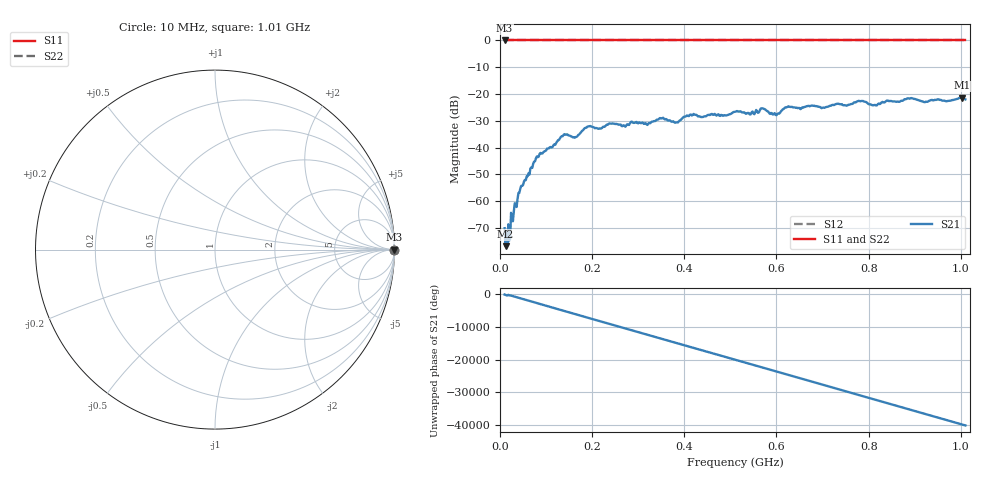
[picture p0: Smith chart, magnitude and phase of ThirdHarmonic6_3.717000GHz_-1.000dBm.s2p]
! 8/17/2025 12:40:19 PM
! C:\ANRITSUVNA\TEMP\TEMP.S2P
! CHANNEL.1
! TR.MEASUREMENT
! RAW.DATA
! RF.CORRECTION.OFF
! AVERAGING.OFF
! IF.BANDWIDTH: 5KHZ
! SWEEPTYPE:  FREQ.SWEEP(Linear)
! Reference Plane Port Info
! PORT:  PORT1  PORT2
! DISTANCE:  0  m  0  m
! TIME:  0  s  0  s
! PHASE.OFFSET:  0  deg.  0  deg.
! LOSS:  0  dB  0  dB
! REF.LOSS:  0  dB  0  dB
! REF.FREQ:  0  Hz  0  Hz
! Power Info
! POWER:  -20  dBm  -20  dBm
! EFF.POWER:  -20  dBm  -20  dBm
! SOURCE.ATTEN:  0  dB  0  dB
! TEST.ATTEN:  0  dB  0  dB
# GHZ S RI R 50.0
! FREQ.GHZ  S11RE  S11IM  S21RE  S21IM  S12RE  S12IM  S22RE  S22IM
!; PortSelection: Port_12
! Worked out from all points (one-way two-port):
!   501 points, 10 MHz to 1.01 GHz, reference 50 ohm
!   highest |S21| = -21.31 dB at 1.002 GHz (marker M1); lowest = -76.7 dB at 12 MHz (marker M2)
!   lowest |S11| = 0.0 dB at 10 MHz (marker M3)
!   |S11| at or under -10 dB: nowhere
!   |S22| runs from 0.0 to 0.0 dB; largest |S21 - S12| = 1.1
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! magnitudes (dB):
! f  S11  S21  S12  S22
! 10 MHz  0.0  -70.0  0.0  0.0
! 12 MHz  0.0  -76.7  0.0  0.0
! 18 MHz  0.0  -68.6  0.0  0.0
! 24 MHz  0.0  -64.3  0.0  0.0
! 28 MHz  0.0  -67.5  0.0  0.0
! 44 MHz  0.0  -55.3  0.0  0.0
! 78 MHz  0.0  -44.0  0.0  0.0
! 136 MHz  0.0  -35.7  0.0  0.0
! 162 MHz  0.0  -36.3  0.0  0.0
! 178 MHz  0.0  -33.7  0.0  0.0
! 194 MHz  0.0  -32.0  0.0  0.0
! 344 MHz  0.0  -29.4  0.0  0.0
! 382 MHz  0.0  -30.6  0.0  0.0
! 416 MHz  0.0  -28.0  0.0  0.0
! 510 MHz  0.0  -26.6  0.0  0.0
! 570 MHz  0.0  -25.3  0.0  0.0
! 596 MHz  0.0  -27.1  0.0  0.0
! 622 MHz  0.0  -25.0  0.0  0.0
! 678 MHz  0.0  -24.3  0.0  0.0
! 844 MHz  0.0  -22.6  0.0  0.0
! 1.002 GHz  0.0  -21.3  0.0  0.0
! 1.01 GHz  0.0  -22.0  0.0  0.0
